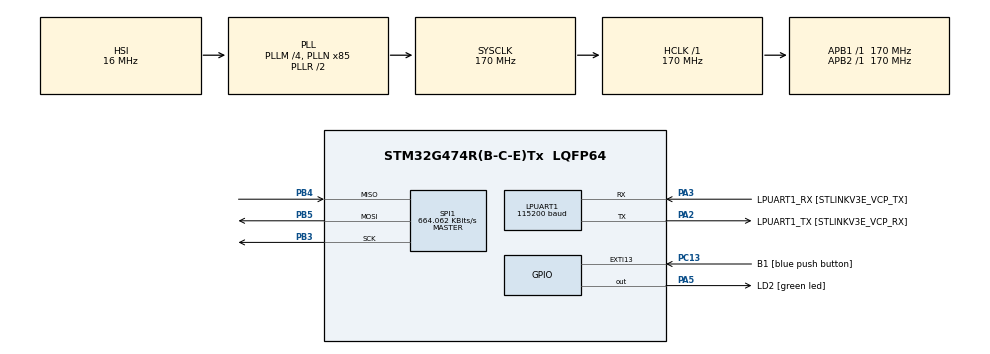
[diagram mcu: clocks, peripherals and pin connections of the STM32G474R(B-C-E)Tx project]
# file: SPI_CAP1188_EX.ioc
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LPUART1.BaudRate=115200
LPUART1.WordLength=UART_WORDLENGTH_8B
Mcu.Family=STM32G4
Mcu.Name=STM32G474R(B-C-E)Tx
Mcu.Package=LQFP64
NVIC.EXTI15_10_IRQn=true\:0\:0\:false\:false\:true\:true\:true
NVIC.PriorityGroup=NVIC_PRIORITYGROUP_4
NVIC.SPI1_IRQn=true\:1\:0\:true\:false\:true\:true\:true
PA2.GPIO_Label=LPUART1_TX [STLINKV3E_VCP_RX]
PA2.Mode=Asynchronous
PA2.Signal=LPUART1_TX
PA3.GPIO_Label=LPUART1_RX [STLINKV3E_VCP_TX]
PA3.Mode=Asynchronous
PA3.Signal=LPUART1_RX
PA5.GPIO_Label=LD2 [green led]
PA5.Signal=GPIO_Output
PB3.Mode=Full_Duplex_Master
PB3.Signal=SPI1_SCK
PB4.Mode=Full_Duplex_Master
PB4.Signal=SPI1_MISO
PB5.GPIO_PuPd=GPIO_PULLDOWN
PB5.Mode=Full_Duplex_Master
PB5.Signal=SPI1_MOSI
PC13.GPIO_Label=B1 [blue push button]
PC13.Signal=GPXTI13
ProjectManager.HeapSize=0x200
ProjectManager.StackSize=0x400
ProjectManager.TargetToolchain=STM32CubeIDE
RCC.ADC12Freq_Value=170000000
RCC.ADC345Freq_Value=170000000
RCC.AHBFreq_Value=170000000
RCC.APB1Freq_Value=170000000
RCC.APB1TimFreq_Value=170000000
RCC.APB2Freq_Value=170000000
RCC.APB2TimFreq_Value=170000000
RCC.CortexFreq_Value=170000000
RCC.EXTERNAL_CLOCK_VALUE=12288000
RCC.HCLKFreq_Value=170000000
RCC.HSE_VALUE=24000000
RCC.HSI48_VALUE=48000000
RCC.HSI_VALUE=16000000
RCC.LSE_VALUE=32768
RCC.PLLM=RCC_PLLM_DIV4
RCC.PLLN=85
RCC.RTCClockSelection=RCC_RTCCLKSOURCE_LSE
RCC.SYSCLKFreq_VALUE=170000000
RCC.SYSCLKSource=RCC_SYSCLKSOURCE_PLLCLK
RCC.USBFreq_Value=170000000
RCC.VCOOutputFreq_Value=340000000
SPI1.BaudRatePrescaler=SPI_BAUDRATEPRESCALER_256
SPI1.CalculateBaudRate=664.062 KBits/s
SPI1.DataSize=SPI_DATASIZE_8BIT
SPI1.Direction=SPI_DIRECTION_2LINES
SPI1.Mode=SPI_MODE_MASTER
SPI1.NSSPMode=SPI_NSS_PULSE_DISABLE
SPI1.VirtualType=VM_MASTER
VP_SYS_VS_DBSignals.Mode=DisableDeadBatterySignals
board=NUCLEO-G474RE

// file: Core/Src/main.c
/* USER CODE BEGIN Header */
/**
 ******************************************************************************
 * @file           : main.c
 * @brief          : Main program body
 ******************************************************************************
 * @attention
 *
 * <h2><center>&copy; Copyright (c) 2020 STMicroelectronics.
 * All rights reserved.</center></h2>
 *
 * This software component is licensed by ST under BSD 3-Clause license,
 * the "License"; You may not use this file except in compliance with the
 * License. You may obtain a copy of the License at:
 *                        opensource.org/licenses/BSD-3-Clause
 *
 ******************************************************************************
 */
/* USER CODE END Header */
#include "main.h"

/* USER CODE BEGIN PD */
enum {
	TRANSFER_WAIT, TRANSFER_COMPLETE, TRANSFER_ERROR
};
/* USER CODE END PD */

UART_HandleTypeDef hlpuart1;

SPI_HandleTypeDef hspi1;

/* USER CODE BEGIN PV */
/* Buffers used for transmission */
uint8_t setCap1188AddrBuffer[] = { SET_CAP1188_SPI_ADDR };
uint8_t setCap1188WriteCmd[] = { SET_CAP1188_SPI_WRITE };

/* transfer state */
__IO uint32_t wTransferState = TRANSFER_WAIT;
/* USER CODE END PV */

void SystemClock_Config(void);
static void MX_GPIO_Init(void);
static void MX_LPUART1_UART_Init(void);
static void MX_SPI1_Init(void);
/* USER CODE BEGIN PFP */
int32_t GPIO_CONFIG(uint32_t Pin, uint32_t Mode, uint32_t Pull, uint32_t Speed,
		GPIO_TypeDef *GPIOx);
void cap_1188_spi_write(GPIO_TypeDef *cs_port, uint32_t cs_pin, uint8_t addr,
		uint8_t val);
/* USER CODE END PFP */

int main(void)
{

  /* MCU Configuration--------------------------------------------------------*/

  /* Reset of all peripherals, Initializes the Flash interface and the Systick. */
  HAL_Init();

  /* Configure the system clock */
  SystemClock_Config();

  /* Initialize all configured peripherals */
  MX_GPIO_Init();
  MX_LPUART1_UART_Init();
  MX_SPI1_Init();
  /* USER CODE BEGIN 2 */

	/* Configure LED2 */
	BSP_LED_Init(LED2);

	/* Configure User push-button button */
	BSP_PB_Init(BUTTON_USER, BUTTON_MODE_GPIO);

	//Need to initialize GPIO slave select pin high to the touch sensor device
	//note that the chip select for cap1188 is active low!!!
	__HAL_RCC_GPIOC_CLK_ENABLE();
	static GPIO_TypeDef *cap1188_cs_port = GPIOC;
	uint32_t cap1188_cs_pin = GPIO_PIN_2;
	GPIO_CONFIG(cap1188_cs_pin, GPIO_MODE_OUTPUT_PP, GPIO_NOPULL,
			GPIO_SPEED_FREQ_VERY_HIGH, cap1188_cs_port);
	HAL_GPIO_WritePin(cap1188_cs_port, cap1188_cs_pin, GPIO_PIN_SET);

	/* Wait for User push-button press before starting the Communication */
	while (BSP_PB_GetState(BUTTON_USER) != GPIO_PIN_SET) {
		BSP_LED_Toggle(LED2);
		HAL_Delay(100);
	}
	BSP_LED_Off(LED2);

	// set up multi touching for SPI////////////////////////////////////////////////////////////////
	cap_1188_spi_write(cap1188_cs_port, cap1188_cs_pin, CAP1188_MULTITOUCH_ADDR,
			ENABLE_MULTITOUCH);

	// set up led linking for SPI///////////////////////////////////////////////////////////////////////
	cap_1188_spi_write(cap1188_cs_port, cap1188_cs_pin, CAP1188_LED_LINK_ADDR,
			CAP1188_LED_LINK);

	// If transactions ended successfully will have the LED ON
	BSP_LED_On(LED2);

  /* USER CODE END 2 */

  /* Infinite loop */
	while (1) {

	}
}

void SystemClock_Config(void)
{
  RCC_OscInitTypeDef RCC_OscInitStruct = {0};
  RCC_ClkInitTypeDef RCC_ClkInitStruct = {0};
  RCC_PeriphCLKInitTypeDef PeriphClkInit = {0};

  /** Configure the main internal regulator output voltage
  */
  HAL_PWREx_ControlVoltageScaling(PWR_REGULATOR_VOLTAGE_SCALE1_BOOST);
  /** Initializes the RCC Oscillators according to the specified parameters
  * in the RCC_OscInitTypeDef structure.
  */
  RCC_OscInitStruct.OscillatorType = RCC_OSCILLATORTYPE_HSI;
  RCC_OscInitStruct.HSIState = RCC_HSI_ON;
  RCC_OscInitStruct.HSICalibrationValue = RCC_HSICALIBRATION_DEFAULT;
  RCC_OscInitStruct.PLL.PLLState = RCC_PLL_ON;
  RCC_OscInitStruct.PLL.PLLSource = RCC_PLLSOURCE_HSI;
  RCC_OscInitStruct.PLL.PLLM = RCC_PLLM_DIV4;
  RCC_OscInitStruct.PLL.PLLN = 85;
  RCC_OscInitStruct.PLL.PLLP = RCC_PLLP_DIV2;
  RCC_OscInitStruct.PLL.PLLQ = RCC_PLLQ_DIV2;
  RCC_OscInitStruct.PLL.PLLR = RCC_PLLR_DIV2;
  if (HAL_RCC_OscConfig(&RCC_OscInitStruct) != HAL_OK)
  {
    Error_Handler();
  }
  /** Initializes the CPU, AHB and APB buses clocks
  */
  RCC_ClkInitStruct.ClockType = RCC_CLOCKTYPE_HCLK|RCC_CLOCKTYPE_SYSCLK
                              |RCC_CLOCKTYPE_PCLK1|RCC_CLOCKTYPE_PCLK2;
  RCC_ClkInitStruct.SYSCLKSource = RCC_SYSCLKSOURCE_PLLCLK;
  RCC_ClkInitStruct.AHBCLKDivider = RCC_SYSCLK_DIV1;
  RCC_ClkInitStruct.APB1CLKDivider = RCC_HCLK_DIV1;
  RCC_ClkInitStruct.APB2CLKDivider = RCC_HCLK_DIV1;

  if (HAL_RCC_ClockConfig(&RCC_ClkInitStruct, FLASH_LATENCY_4) != HAL_OK)
  {
    Error_Handler();
  }
  /** Initializes the peripherals clocks
  */
  PeriphClkInit.PeriphClockSelection = RCC_PERIPHCLK_LPUART1;
  PeriphClkInit.Lpuart1ClockSelection = RCC_LPUART1CLKSOURCE_PCLK1;
  if (HAL_RCCEx_PeriphCLKConfig(&PeriphClkInit) != HAL_OK)
  {
    Error_Handler();
  }
}

static void MX_LPUART1_UART_Init(void)
{

  hlpuart1.Instance = LPUART1;
  hlpuart1.Init.BaudRate = 115200;
  hlpuart1.Init.WordLength = UART_WORDLENGTH_8B;
  hlpuart1.Init.StopBits = UART_STOPBITS_1;
  hlpuart1.Init.Parity = UART_PARITY_NONE;
  hlpuart1.Init.Mode = UART_MODE_TX_RX;
  hlpuart1.Init.HwFlowCtl = UART_HWCONTROL_NONE;
  hlpuart1.Init.OneBitSampling = UART_ONE_BIT_SAMPLE_DISABLE;
  hlpuart1.Init.ClockPrescaler = UART_PRESCALER_DIV1;
  hlpuart1.AdvancedInit.AdvFeatureInit = UART_ADVFEATURE_NO_INIT;
  if (HAL_UART_Init(&hlpuart1) != HAL_OK)
  {
    Error_Handler();
  }
  if (HAL_UARTEx_SetTxFifoThreshold(&hlpuart1, UART_TXFIFO_THRESHOLD_1_8) != HAL_OK)
  {
    Error_Handler();
  }
  if (HAL_UARTEx_SetRxFifoThreshold(&hlpuart1, UART_RXFIFO_THRESHOLD_1_8) != HAL_OK)
  {
    Error_Handler();
  }
  if (HAL_UARTEx_DisableFifoMode(&hlpuart1) != HAL_OK)
  {
    Error_Handler();
  }

}

static void MX_SPI1_Init(void)
{

  /* SPI1 parameter configuration*/
  hspi1.Instance = SPI1;
  hspi1.Init.Mode = SPI_MODE_MASTER;
  hspi1.Init.Direction = SPI_DIRECTION_2LINES;
  hspi1.Init.DataSize = SPI_DATASIZE_8BIT;
  hspi1.Init.CLKPolarity = SPI_POLARITY_LOW;
  hspi1.Init.CLKPhase = SPI_PHASE_1EDGE;
  hspi1.Init.NSS = SPI_NSS_SOFT;
  hspi1.Init.BaudRatePrescaler = SPI_BAUDRATEPRESCALER_256;
  hspi1.Init.FirstBit = SPI_FIRSTBIT_MSB;
  hspi1.Init.TIMode = SPI_TIMODE_DISABLE;
  hspi1.Init.CRCCalculation = SPI_CRCCALCULATION_DISABLE;
  hspi1.Init.CRCPolynomial = 7;
  hspi1.Init.CRCLength = SPI_CRC_LENGTH_DATASIZE;
  hspi1.Init.NSSPMode = SPI_NSS_PULSE_DISABLE;
  if (HAL_SPI_Init(&hspi1) != HAL_OK)
  {
    Error_Handler();
  }

}

static void MX_GPIO_Init(void)
{
  GPIO_InitTypeDef GPIO_InitStruct = {0};

  /* GPIO Ports Clock Enable */
  __HAL_RCC_GPIOC_CLK_ENABLE();
  __HAL_RCC_GPIOA_CLK_ENABLE();
  __HAL_RCC_GPIOB_CLK_ENABLE();

  /*Configure GPIO pin Output Level */
  HAL_GPIO_WritePin(LD2_GPIO_Port, LD2_Pin, GPIO_PIN_RESET);

  /*Configure GPIO pin : B1_Pin */
  GPIO_InitStruct.Pin = B1_Pin;
  GPIO_InitStruct.Mode = GPIO_MODE_IT_RISING;
  GPIO_InitStruct.Pull = GPIO_NOPULL;
  HAL_GPIO_Init(B1_GPIO_Port, &GPIO_InitStruct);

  /*Configure GPIO pin : LD2_Pin */
  GPIO_InitStruct.Pin = LD2_Pin;
  GPIO_InitStruct.Mode = GPIO_MODE_OUTPUT_PP;
  GPIO_InitStruct.Pull = GPIO_NOPULL;
  GPIO_InitStruct.Speed = GPIO_SPEED_FREQ_LOW;
  HAL_GPIO_Init(LD2_GPIO_Port, &GPIO_InitStruct);

  /* EXTI interrupt init*/
  HAL_NVIC_SetPriority(EXTI15_10_IRQn, 0, 0);
  HAL_NVIC_EnableIRQ(EXTI15_10_IRQn);

}

/* USER CODE BEGIN 4 */
/**
 * @brief  TxRx Transfer completed callback.
 * @param  hspi: SPI handle
 * @note   This example shows a simple way to report end of Interrupt TxRx transfer, and
 *         you can add your own implementation.
 * @retval None
 */
void HAL_SPI_TxRxCpltCallback(SPI_HandleTypeDef *hspi) {
	/* Turn LED2 on: Transfer in transmission/reception process is complete */
	BSP_LED_On(LED2);
	wTransferState = TRANSFER_COMPLETE;
}

/**
 * @brief  SPI error callbacks.
 * @param  hspi: SPI handle
 * @note   This example shows a simple way to report transfer error, and you can
 *         add your own implementation.
 * @retval None
 */
void HAL_SPI_ErrorCallback(SPI_HandleTypeDef *hspi) {
	wTransferState = TRANSFER_ERROR;
}

/**
 * @brief  Select GPIO Pin to configure.
 * @param  Led Specifies the Led to be configured.
 *         This parameter can be one of following parameters:
 *           @arg  LED2
 * @retval BSP status
 */
int32_t GPIO_CONFIG(uint32_t Pin, uint32_t Mode, uint32_t Pull, uint32_t Speed,
		GPIO_TypeDef *GPIOx) {
	GPIO_InitTypeDef gpio_init_structure;

	/* Configure the GPIO_LED pin */
	gpio_init_structure.Pin = Pin;
	gpio_init_structure.Mode = Mode;
	gpio_init_structure.Pull = Pull;
	gpio_init_structure.Speed = Speed;

	HAL_GPIO_Init(GPIOx, &gpio_init_structure);
	HAL_GPIO_WritePin(GPIOx, Pin, GPIO_PIN_RESET);

	return BSP_ERROR_NONE;
}

void cap_1188_spi_write(GPIO_TypeDef *cs_port, uint32_t cs_pin, uint8_t addr,
		uint8_t val) {

	uint8_t addr_buffer[] = { addr };
	uint8_t tx_buffer[] = { val };

	uint8_t rx_buffer[BUFFERSIZE];

	//set up the Chip Select (active low for this device)
	HAL_GPIO_WritePin(cs_port, cs_pin, GPIO_PIN_RESET);

	//set the address ///////////////////////////////
	if (HAL_SPI_TransmitReceive_IT(&hspi1, (uint8_t*) setCap1188AddrBuffer,
			(uint8_t*) rx_buffer, BUFFERSIZE) != HAL_OK) {
		Error_Handler();
	}
	while (wTransferState == TRANSFER_WAIT) {
	}
	wTransferState = TRANSFER_WAIT;

	if (HAL_SPI_TransmitReceive_IT(&hspi1, (uint8_t*) addr_buffer,
			(uint8_t*) rx_buffer, BUFFERSIZE) != HAL_OK) {
		Error_Handler();
	}
	while (wTransferState == TRANSFER_WAIT) {
	}
	wTransferState = TRANSFER_WAIT;
	/////////////////////////////////////////////////

	HAL_GPIO_WritePin(cs_port, cs_pin, GPIO_PIN_SET);
	HAL_GPIO_WritePin(cs_port, cs_pin, GPIO_PIN_RESET);

	//set the write command and write the actual value ///
	if (HAL_SPI_TransmitReceive_IT(&hspi1, (uint8_t*) setCap1188WriteCmd,
			(uint8_t*) rx_buffer, BUFFERSIZE) != HAL_OK) {
		Error_Handler();
	}
	while (wTransferState == TRANSFER_WAIT) {
	}
	wTransferState = TRANSFER_WAIT;

	if (HAL_SPI_TransmitReceive_IT(&hspi1, (uint8_t*) tx_buffer,
			(uint8_t*) rx_buffer, BUFFERSIZE) != HAL_OK) {
		Error_Handler();
	}
	while (wTransferState == TRANSFER_WAIT) {
	}
	wTransferState = TRANSFER_WAIT;
	/////////////////////////////////////////////////

	//reset the chip select back to high
	HAL_GPIO_WritePin(cs_port, cs_pin, GPIO_PIN_SET);
}

/* USER CODE END 4 */

void Error_Handler(void)
{
  /* USER CODE BEGIN Error_Handler_Debug */
	/* User can add his own implementation to report the HAL error return state */
	while (1) {
		/* Toggle LED2 for error */
		BSP_LED_Toggle(LED2);
		HAL_Delay(1000);
	}
  /* USER CODE END Error_Handler_Debug */
}

/************************ (C) COPYRIGHT STMicroelectronics *****END OF FILE****/
